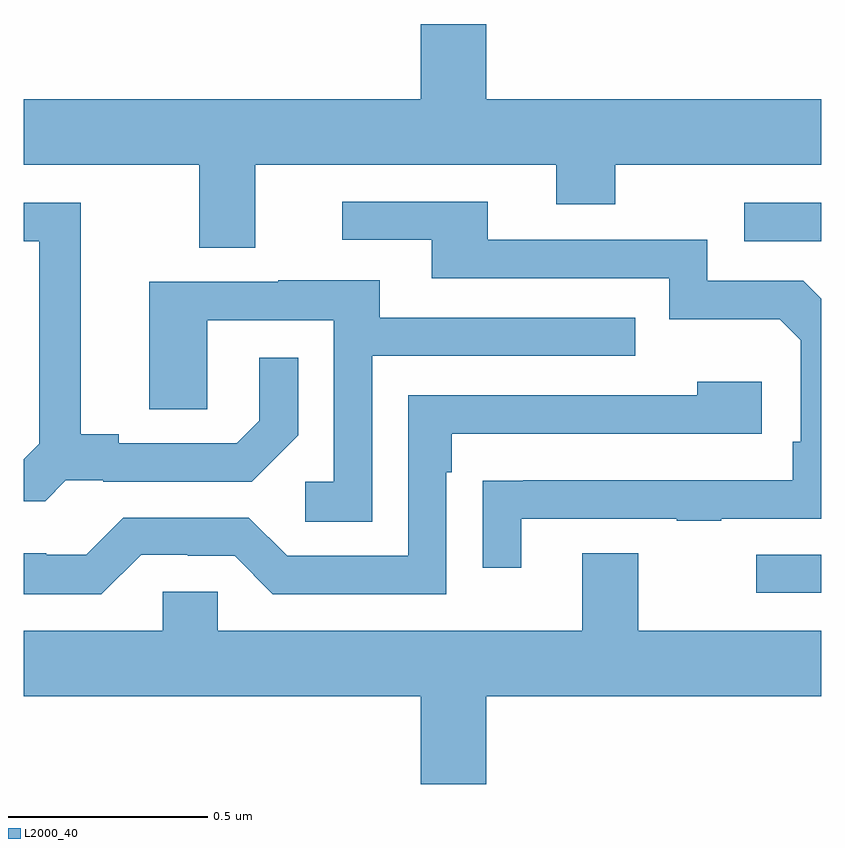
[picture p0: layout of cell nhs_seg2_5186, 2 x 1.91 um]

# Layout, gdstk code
import gdstk
lib = gdstk.Library(unit=1e-6, precision=1e-09)
def R(c, l, rs):  # rectangles x0, y0, x1, y1
    for r in rs: c.add(gdstk.rectangle(r[:2], r[2:], *l))
def P(c, l, *ps):  # polygons
    for p in ps: c.add(gdstk.Polygon(p, *l))
L2000_40 = (2000, 40)

nhs_seg2_5186 = lib.new_cell('nhs_seg2_5186')
R(nhs_seg2_5186, L2000_40, [(177.837,597.279,178,597.375), (177.807,598.161,178,598.257)])
P(nhs_seg2_5186, L2000_40, [(176.581,598.352),(177.335,598.352),(177.335,598.253),(177.483,598.253),(177.483,598.352),(178,598.352),(178,598.516),(177.16,598.516),(177.16,598.705),(176.996,598.705),(176.996,598.516),(176,598.516),(176,598.352),(176.441,598.352),(176.441,598.144),(176.581,598.144)],
  [(177.247,597.465),(177.637,597.465),(177.637,597.46),(177.749,597.46),(177.749,597.465),(178,597.465),(178,598.016),(177.954,598.062),(177.714,598.062),(177.714,598.164),(177.163,598.164),(177.163,598.26),(176.799,598.26),(176.799,598.164),(177.023,598.164),(177.023,598.068),(177.618,598.068),(177.618,597.965),(177.895,597.965),(177.948,597.912),(177.948,597.658),(177.928,597.658),(177.928,597.561),(177.253,597.561),(177.253,597.56),(177.151,597.56),(177.151,597.342),(177.247,597.342)],
  [(176.106,597.561),(176.2,597.561),(176.2,597.558),(176.572,597.558),(176.688,597.674),(176.688,597.868),(176.591,597.868),(176.591,597.711),(176.534,597.654),(176.239,597.654),(176.239,597.677),(176.143,597.677),(176.143,598.257),(176,598.257),(176,598.161),(176.039,598.161),(176.039,597.653),(176,597.614),(176,597.509),(176.054,597.509)],
  [(176.874,597.873),(177.533,597.873),(177.533,597.969),(176.893,597.969),(176.893,598.063),(176.639,598.063),(176.639,598.059),(176.315,598.059),(176.315,597.739),(176.46,597.739),(176.46,597.963),(176.778,597.963),(176.778,597.558),(176.706,597.558),(176.706,597.457),(176.874,597.457)],
  [(176.295,597.375),(176.411,597.375),(176.411,597.372),(176.529,597.372),(176.625,597.276),(177.06,597.276),(177.06,597.581),(177.073,597.581),(177.073,597.678),(177.85,597.678),(177.85,597.808),(177.689,597.808),(177.689,597.774),(176.964,597.774),(176.964,597.372),(176.661,597.372),(176.565,597.468),(176.25,597.468),(176.157,597.375),(176.057,597.375),(176.057,597.379),(176,597.379),(176,597.275),(176.195,597.275)],
  [(177.16,597.02),(178,597.02),(178,597.184),(177.541,597.184),(177.541,597.379),(177.401,597.379),(177.401,597.184),(176.487,597.184),(176.487,597.282),(176.349,597.282),(176.349,597.184),(176,597.184),(176,597.02),(176.996,597.02),(176.996,596.8),(177.16,596.8)])

lib.write_gds('nhs_seg2_5186.gds')
